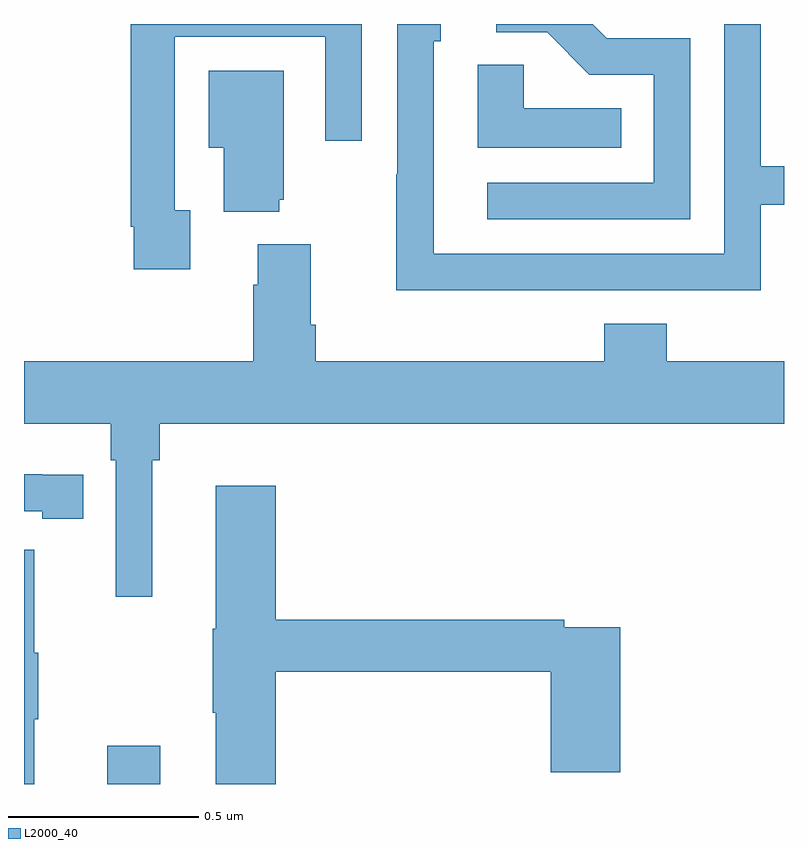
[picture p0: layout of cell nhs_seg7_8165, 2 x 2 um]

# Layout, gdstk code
import gdstk
lib = gdstk.Library(unit=1e-6, precision=1e-09)
def R(c, l, rs):  # rectangles x0, y0, x1, y1
    for r in rs: c.add(gdstk.rectangle(r[:2], r[2:], *l))
def P(c, l, *ps):  # polygons
    for p in ps: c.add(gdstk.Polygon(p, *l))
L2000_40 = (2000, 40)

nhs_seg7_8165 = lib.new_cell('nhs_seg7_8165')
R(nhs_seg7_8165, L2000_40, [(221.219,1001,221.359,1001.101)])
P(nhs_seg7_8165, L2000_40, [(222.443,1002.3),(222.939,1002.3),(222.939,1002.525),(223,1002.525),(223,1002.626),(222.939,1002.626),(222.939,1003),(222.843,1003),(222.843,1002.396),(222.078,1002.396),(222.078,1002.954),(222.097,1002.954),(222.097,1003),(221.982,1003),(221.982,1002.605),(221.98,1002.605),(221.98,1002.299),(222.443,1002.299)],
  [(222.753,1002.963),(222.534,1002.963),(222.497,1003),(222.243,1003),(222.243,1002.978),(222.377,1002.978),(222.488,1002.867),(222.657,1002.867),(222.657,1002.582),(222.219,1002.582),(222.219,1002.486),(222.753,1002.486)],
  [(221.437,1002.51),(221.397,1002.51),(221.397,1002.966),(221.793,1002.966),(221.793,1002.693),(221.889,1002.693),(221.889,1003),(221.281,1003),(221.281,1002.466),(221.289,1002.466),(221.289,1002.354),(221.437,1002.354)],
  [(222.572,1002.778),(222.315,1002.778),(222.315,1002.893),(222.194,1002.893),(222.194,1002.674),(222.572,1002.674)],
  [(221.672,1002.537),(221.683,1002.537),(221.683,1002.877),(221.486,1002.877),(221.486,1002.674),(221.525,1002.674),(221.525,1002.506),(221.672,1002.506)],
  [(223,1002.112),(222.692,1002.112),(222.692,1002.211),(222.527,1002.211),(222.527,1002.112),(221.768,1002.112),(221.768,1002.208),(221.755,1002.208),(221.755,1002.421),(221.615,1002.421),(221.615,1002.314),(221.603,1002.314),(221.603,1002.112),(221,1002.112),(221,1001.948),(221.228,1001.948),(221.228,1001.852),(221.241,1001.852),(221.241,1001.493),(221.338,1001.493),(221.338,1001.852),(221.357,1001.852),(221.357,1001.948),(223,1001.948)],
  [(221.156,1001.814),(221.048,1001.814),(221.048,1001.815),(221,1001.815),(221,1001.718),(221.048,1001.718),(221.048,1001.698),(221.156,1001.698)],
  [(221.663,1001.296),(222.386,1001.296),(222.386,1001.031),(222.569,1001.031),(222.569,1001.412),(222.422,1001.412),(222.422,1001.432),(221.663,1001.432),(221.663,1001.785),(221.504,1001.785),(221.504,1001.409),(221.497,1001.409),(221.497,1001.188),(221.504,1001.188),(221.504,1001),(221.663,1001)],
  [(221.027,1001.171),(221.038,1001.171),(221.038,1001.345),(221.027,1001.345),(221.027,1001.617),(221,1001.617),(221,1001),(221.027,1001)])

lib.write_gds('nhs_seg7_8165.gds')
